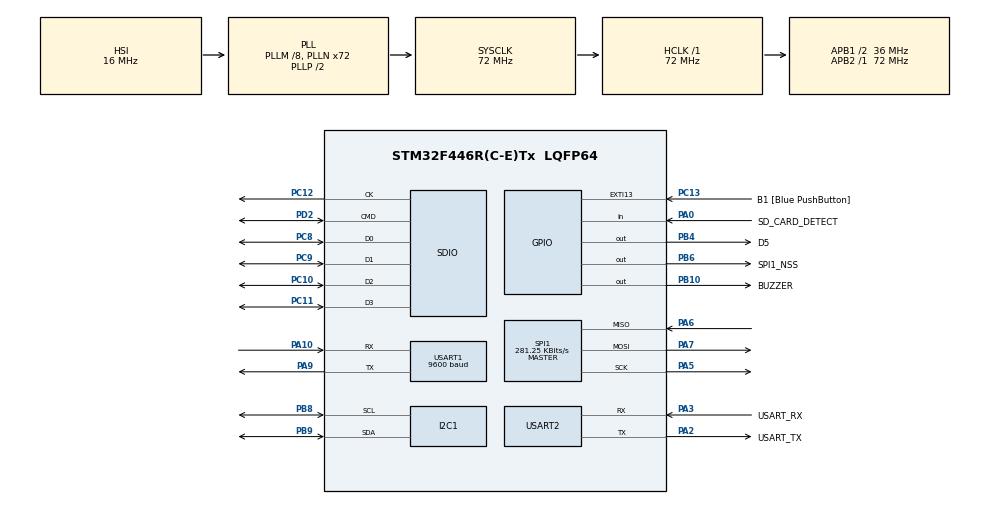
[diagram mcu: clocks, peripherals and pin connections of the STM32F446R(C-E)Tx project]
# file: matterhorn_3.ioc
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Dma.I2C1_RX.1.Direction=DMA_PERIPH_TO_MEMORY
Dma.I2C1_RX.1.FIFOMode=DMA_FIFOMODE_DISABLE
Dma.I2C1_RX.1.Instance=DMA1_Stream0
Dma.I2C1_RX.1.MemDataAlignment=DMA_MDATAALIGN_BYTE
Dma.I2C1_RX.1.MemInc=DMA_MINC_ENABLE
Dma.I2C1_RX.1.Mode=DMA_NORMAL
Dma.I2C1_RX.1.PeriphDataAlignment=DMA_PDATAALIGN_BYTE
Dma.I2C1_RX.1.PeriphInc=DMA_PINC_DISABLE
Dma.I2C1_RX.1.Priority=DMA_PRIORITY_LOW
Dma.Request0=USART2_TX
Dma.Request1=I2C1_RX
Dma.Request2=SDIO_TX
Dma.Request3=SDIO_RX
Dma.Request4=USART1_TX
Dma.SDIO_RX.3.Direction=DMA_PERIPH_TO_MEMORY
Dma.SDIO_RX.3.FIFOMode=DMA_FIFOMODE_ENABLE
Dma.SDIO_RX.3.FIFOThreshold=DMA_FIFO_THRESHOLD_FULL
Dma.SDIO_RX.3.Instance=DMA2_Stream6
Dma.SDIO_RX.3.MemBurst=DMA_MBURST_INC4
Dma.SDIO_RX.3.MemDataAlignment=DMA_MDATAALIGN_WORD
Dma.SDIO_RX.3.MemInc=DMA_MINC_ENABLE
Dma.SDIO_RX.3.Mode=DMA_PFCTRL
Dma.SDIO_RX.3.PeriphBurst=DMA_PBURST_INC4
Dma.SDIO_RX.3.PeriphDataAlignment=DMA_PDATAALIGN_WORD
Dma.SDIO_RX.3.PeriphInc=DMA_PINC_DISABLE
Dma.SDIO_RX.3.Priority=DMA_PRIORITY_LOW
Dma.SDIO_TX.2.Direction=DMA_MEMORY_TO_PERIPH
Dma.SDIO_TX.2.FIFOMode=DMA_FIFOMODE_ENABLE
Dma.SDIO_TX.2.FIFOThreshold=DMA_FIFO_THRESHOLD_FULL
Dma.SDIO_TX.2.Instance=DMA2_Stream3
Dma.SDIO_TX.2.MemBurst=DMA_MBURST_INC4
Dma.SDIO_TX.2.MemDataAlignment=DMA_MDATAALIGN_WORD
Dma.SDIO_TX.2.MemInc=DMA_MINC_ENABLE
Dma.SDIO_TX.2.Mode=DMA_PFCTRL
Dma.SDIO_TX.2.PeriphBurst=DMA_PBURST_INC4
Dma.SDIO_TX.2.PeriphDataAlignment=DMA_PDATAALIGN_WORD
Dma.SDIO_TX.2.PeriphInc=DMA_PINC_DISABLE
Dma.SDIO_TX.2.Priority=DMA_PRIORITY_LOW
Dma.USART1_TX.4.Direction=DMA_MEMORY_TO_PERIPH
Dma.USART1_TX.4.FIFOMode=DMA_FIFOMODE_DISABLE
Dma.USART1_TX.4.Instance=DMA2_Stream7
Dma.USART1_TX.4.MemDataAlignment=DMA_MDATAALIGN_BYTE
Dma.USART1_TX.4.MemInc=DMA_MINC_ENABLE
Dma.USART1_TX.4.Mode=DMA_NORMAL
Dma.USART1_TX.4.PeriphDataAlignment=DMA_PDATAALIGN_BYTE
Dma.USART1_TX.4.PeriphInc=DMA_PINC_DISABLE
Dma.USART1_TX.4.Priority=DMA_PRIORITY_LOW
Dma.USART2_TX.0.Direction=DMA_MEMORY_TO_PERIPH
Dma.USART2_TX.0.FIFOMode=DMA_FIFOMODE_DISABLE
Dma.USART2_TX.0.Instance=DMA1_Stream6
Dma.USART2_TX.0.MemDataAlignment=DMA_MDATAALIGN_BYTE
Dma.USART2_TX.0.MemInc=DMA_MINC_ENABLE
Dma.USART2_TX.0.Mode=DMA_NORMAL
Dma.USART2_TX.0.PeriphDataAlignment=DMA_PDATAALIGN_BYTE
Dma.USART2_TX.0.PeriphInc=DMA_PINC_DISABLE
Dma.USART2_TX.0.Priority=DMA_PRIORITY_LOW
FATFS._FS_LOCK=2
FATFS._USE_LFN=0
FATFS._USE_STRFUNC=0
FREERTOS.BinarySemaphores01=i2cSensorsSem,Dynamic,NULL
FREERTOS.Queues01=sdLoggingQueue,16,String_Message,0,Dynamic,NULL,NULL
FREERTOS.Tasks01=defaultTask,-3,1024,StartDefaultTask,As weak,NULL,Dynamic,NULL,NULL;fetch_i2c_senso,-1,1024,TK_fetch_i2c,As external,NULL,Dynamic,NULL,NULL;data_mgmt,0,1024,TK_data,As external,NULL,Dynamic,NULL,NULL;airbrakes_ctrl,1,1024,TK_ab_controller,As external,NULL,Dynamic,NULL,NULL;state_machine,2,1024,TK_state_machine,As external,NULL,Dynamic,NULL,NULL;physical_iface,2,256,TK_physical_iface,As external,NULL,Dynamic,NULL,NULL;sdWrite,-1,1024,TK_sd_sync,As external,NULL,Dynamic,NULL,NULL
FREERTOS.configCHECK_FOR_STACK_OVERFLOW=2
FREERTOS.configGENERATE_RUN_TIME_STATS=1
FREERTOS.configTOTAL_HEAP_SIZE=61440
FREERTOS.configUSE_TRACE_FACILITY=1
I2C1.I2C_Mode=I2C_Standard
Mcu.Family=STM32F4
Mcu.Name=STM32F446R(C-E)Tx
Mcu.Package=LQFP64
NVIC.DMA1_Stream0_IRQn=true\:5\:0\:false\:false\:true\:true\:false
NVIC.DMA1_Stream6_IRQn=true\:5\:0\:false\:false\:true\:true\:false
NVIC.DMA2_Stream3_IRQn=true\:5\:0\:false\:false\:true\:true\:false
NVIC.DMA2_Stream6_IRQn=true\:5\:0\:false\:false\:true\:true\:false
NVIC.DMA2_Stream7_IRQn=true\:5\:0\:false\:false\:true\:true\:false
NVIC.I2C1_ER_IRQn=true\:5\:0\:false\:false\:true\:true\:true
NVIC.I2C1_EV_IRQn=true\:5\:0\:false\:false\:true\:true\:true
NVIC.PriorityGroup=NVIC_PRIORITYGROUP_4
NVIC.SDIO_IRQn=true\:5\:0\:false\:false\:true\:true\:true
NVIC.TIM8_TRG_COM_TIM14_IRQn=true\:0\:0\:false\:false\:true\:false\:false
NVIC.TimeBase=TIM8_TRG_COM_TIM14_IRQn
NVIC.TimeBaseIP=TIM14
NVIC.USART1_IRQn=true\:5\:0\:false\:false\:true\:true\:true
NVIC.USART2_IRQn=true\:5\:0\:false\:false\:true\:true\:true
PA0-WKUP.GPIO_Label=SD_CARD_DETECT
PA0-WKUP.Signal=GPIO_Input
PA10.Mode=Asynchronous
PA10.Signal=USART1_RX
PA13.GPIO_Label=TMS
PA13.Mode=Trace_Asynchronous_SW
PA13.Signal=SYS_JTMS-SWDIO
PA14.GPIO_Label=TCK
PA14.Mode=Trace_Asynchronous_SW
PA14.Signal=SYS_JTCK-SWCLK
PA2.GPIO_Label=USART_TX
PA2.Mode=Asynchronous
PA2.Signal=USART2_TX
PA3.GPIO_Label=USART_RX
PA3.Mode=Asynchronous
PA3.Signal=USART2_RX
PA5.Mode=Full_Duplex_Master
PA5.Signal=SPI1_SCK
PA6.Mode=Full_Duplex_Master
PA6.Signal=SPI1_MISO
PA7.Mode=Full_Duplex_Master
PA7.Signal=SPI1_MOSI
PA9.Mode=Asynchronous
PA9.Signal=USART1_TX
PB10.GPIO_Label=BUZZER
PB10.Signal=GPIO_Output
PB3.GPIO_Label=SWO
PB3.Mode=Trace_Asynchronous_SW
PB3.Signal=SYS_JTDO-SWO
PB4.GPIO_Label=D5
PB4.Signal=GPIO_Output
PB6.GPIO_Label=SPI1_NSS
PB6.Signal=GPIO_Output
PB8.Mode=I2C
PB8.Signal=I2C1_SCL
PB9.Mode=I2C
PB9.Signal=I2C1_SDA
PC10.Mode=SD_4_bits_Wide_bus
PC10.Signal=SDIO_D2
PC11.Mode=SD_4_bits_Wide_bus
PC11.Signal=SDIO_D3
PC12.Mode=SD_4_bits_Wide_bus
PC12.Signal=SDIO_CK
PC13.GPIO_Label=B1 [Blue PushButton]
PC13.GPIO_ModeDefaultEXTI=GPIO_MODE_IT_FALLING
PC13.Signal=GPXTI13
PC14-OSC32_IN.Mode=LSE-External-Oscillator
PC14-OSC32_IN.Signal=RCC_OSC32_IN
PC15-OSC32_OUT.Mode=LSE-External-Oscillator
PC15-OSC32_OUT.Signal=RCC_OSC32_OUT
PC8.Mode=SD_4_bits_Wide_bus
PC8.Signal=SDIO_D0
PC9.Mode=SD_4_bits_Wide_bus
PC9.Signal=SDIO_D1
PD2.Mode=SD_4_bits_Wide_bus
PD2.Signal=SDIO_CMD
PH0-OSC_IN.Mode=HSE-External-Oscillator
PH0-OSC_IN.Signal=RCC_OSC_IN
PH1-OSC_OUT.Mode=HSE-External-Oscillator
PH1-OSC_OUT.Signal=RCC_OSC_OUT
ProjectManager.HeapSize=0x200
ProjectManager.StackSize=0x400
ProjectManager.TargetToolchain=TrueSTUDIO
RCC.48MHZClocksFreq_Value=84000000
RCC.AHBFreq_Value=72000000
RCC.APB1CLKDivider=RCC_HCLK_DIV2
RCC.APB1Freq_Value=36000000
RCC.APB1TimFreq_Value=72000000
RCC.APB2Freq_Value=72000000
RCC.APB2TimFreq_Value=72000000
RCC.CortexFreq_Value=72000000
RCC.FLatency-AdvancedSettings=FLASH_LATENCY_2
RCC.HCLKFreq_Value=72000000
RCC.HSE_VALUE=8000000
RCC.HSI_VALUE=16000000
RCC.PLLM=8
RCC.PLLN=72
RCC.PLLQ=3
RCC.SYSCLKFreq_VALUE=72000000
RCC.SYSCLKSource=RCC_SYSCLKSOURCE_PLLCLK
RCC.USBFreq_Value=48000000
RCC.VCOOutputFreq_Value=144000000
SPI1.BaudRatePrescaler=SPI_BAUDRATEPRESCALER_256
SPI1.CalculateBaudRate=281.25 KBits/s
SPI1.Direction=SPI_DIRECTION_2LINES
SPI1.Mode=SPI_MODE_MASTER
SPI1.VirtualType=VM_MASTER
USART1.BaudRate=9600
USART1.VirtualMode=VM_ASYNC
USART2.VirtualMode=VM_ASYNC
VP_FATFS_VS_SDIO.Mode=SDIO
VP_FREERTOS_VS_ENABLE.Mode=Enabled
VP_SYS_VS_tim14.Mode=TIM14
board=NUCLEO-F446RE

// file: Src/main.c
/**
  ******************************************************************************
  * @file           : main.c
  * @brief          : Main program body
  ******************************************************************************
  * This notice applies to any and all portions of this file
  * that are not between comment pairs USER CODE BEGIN and
  * USER CODE END. Other portions of this file, whether
  * inserted by the user or by software development tools
  * are owned by their respective copyright owners.
  *
  * Copyright (c) 2018 STMicroelectronics International N.V.
  * All rights reserved.
  *
  * Redistribution and use in source and binary forms, with or without
  * modification, are permitted, provided that the following conditions are met:
  *
  * 1. Redistribution of source code must retain the above copyright notice,
  *    this list of conditions and the following disclaimer.
  * 2. Redistributions in binary form must reproduce the above copyright notice,
  *    this list of conditions and the following disclaimer in the documentation
  *    and/or other materials provided with the distribution.
  * 3. Neither the name of STMicroelectronics nor the names of other
  *    contributors to this software may be used to endorse or promote products
  *    derived from this software without specific written permission.
  * 4. This software, including modifications and/or derivative works of this
  *    software, must execute solely and exclusively on microcontroller or
  *    microprocessor devices manufactured by or for STMicroelectronics.
  * 5. Redistribution and use of this software other than as permitted under
  *    this license is void and will automatically terminate your rights under
  *    this license.
  *
  * THIS SOFTWARE IS PROVIDED BY STMICROELECTRONICS AND CONTRIBUTORS "AS IS"
  * AND ANY EXPRESS, IMPLIED OR STATUTORY WARRANTIES, INCLUDING, BUT NOT
  * LIMITED TO, THE IMPLIED WARRANTIES OF MERCHANTABILITY, FITNESS FOR A
  * PARTICULAR PURPOSE AND NON-INFRINGEMENT OF THIRD PARTY INTELLECTUAL PROPERTY
  * RIGHTS ARE DISCLAIMED TO THE FULLEST EXTENT PERMITTED BY LAW. IN NO EVENT
  * SHALL STMICROELECTRONICS OR CONTRIBUTORS BE LIABLE FOR ANY DIRECT, INDIRECT,
  * INCIDENTAL, SPECIAL, EXEMPLARY, OR CONSEQUENTIAL DAMAGES (INCLUDING, BUT NOT
  * LIMITED TO, PROCUREMENT OF SUBSTITUTE GOODS OR SERVICES; LOSS OF USE, DATA,
  * OR PROFITS; OR BUSINESS INTERRUPTION) HOWEVER CAUSED AND ON ANY THEORY OF
  * LIABILITY, WHETHER IN CONTRACT, STRICT LIABILITY, OR TORT (INCLUDING
  * NEGLIGENCE OR OTHERWISE) ARISING IN ANY WAY OUT OF THE USE OF THIS SOFTWARE,
  * EVEN IF ADVISED OF THE POSSIBILITY OF SUCH DAMAGE.
  *
  ******************************************************************************
  */
#include "main.h"
#include "stm32f4xx_hal.h"
#include "cmsis_os.h"
#include "fatfs.h"

/* USER CODE BEGIN Includes */

#include "Misc/Common.h"

#include <Sensors/i2c_sensors.h>

/* USER CODE END Includes */

I2C_HandleTypeDef hi2c1;
DMA_HandleTypeDef hdma_i2c1_rx;

SD_HandleTypeDef hsd;
DMA_HandleTypeDef hdma_sdio_tx;
DMA_HandleTypeDef hdma_sdio_rx;

SPI_HandleTypeDef hspi1;

UART_HandleTypeDef huart1;
UART_HandleTypeDef huart2;
DMA_HandleTypeDef hdma_usart1_tx;
DMA_HandleTypeDef hdma_usart2_tx;

osThreadId defaultTaskHandle;
osThreadId fetch_i2c_sensoHandle;
osThreadId data_mgmtHandle;
osThreadId airbrakes_ctrlHandle;
osThreadId state_machineHandle;
osThreadId physical_ifaceHandle;
osThreadId sdWriteHandle;
osMessageQId sdLoggingQueueHandle;
osSemaphoreId i2cSensorsSemHandle;

/* USER CODE BEGIN PV */
/* Private variables ---------------------------------------------------------*/

IMU_data IMU_buffer[CIRC_BUFFER_SIZE] CCMRAM;
BARO_data BARO_buffer[CIRC_BUFFER_SIZE] CCMRAM;

int startSimulation;

UART_HandleTypeDef* airbrake_huart;

/* USER CODE END PV */

void SystemClock_Config(void);
static void MX_GPIO_Init(void);
static void MX_DMA_Init(void);
static void MX_USART2_UART_Init(void);
static void MX_I2C1_Init(void);
static void MX_SDIO_SD_Init(void);
static void MX_SPI1_Init(void);
static void MX_USART1_UART_Init(void);
void StartDefaultTask(void const * argument);
extern void TK_fetch_i2c(void const * argument);
extern void TK_data(void const * argument);
extern void TK_ab_controller(void const * argument);
extern void TK_state_machine(void const * argument);
extern void TK_physical_iface(void const * argument);
extern void TK_sd_sync(void const * argument);

/* USER CODE BEGIN PFP */
/* Private function prototypes -----------------------------------------------*/

/* USER CODE END PFP */

int main(void)
{
  /* USER CODE BEGIN 1 */
  initPeripherals ();

  /* USER CODE END 1 */

  /* MCU Configuration----------------------------------------------------------*/

  /* Reset of all peripherals, Initializes the Flash interface and the Systick. */
  HAL_Init();

  /* Configure the system clock */
  SystemClock_Config();

  /* Initialize all configured peripherals */
  MX_GPIO_Init();
  MX_DMA_Init();
  MX_USART2_UART_Init();
  MX_I2C1_Init();
  MX_SDIO_SD_Init();
  MX_SPI1_Init();
  MX_USART1_UART_Init();

  /* Create the semaphores(s) */
  /* definition and creation of i2cSensorsSem */
  osSemaphoreDef(i2cSensorsSem);
  i2cSensorsSemHandle = osSemaphoreCreate(osSemaphore(i2cSensorsSem), 1);

  /* Create the thread(s) */
  /* definition and creation of defaultTask */
  osThreadDef(defaultTask, StartDefaultTask, osPriorityIdle, 0, 1024);
  defaultTaskHandle = osThreadCreate(osThread(defaultTask), NULL);

  /* definition and creation of fetch_i2c_senso */
  osThreadDef(fetch_i2c_senso, TK_fetch_i2c, osPriorityBelowNormal, 0, 1024);
  fetch_i2c_sensoHandle = osThreadCreate(osThread(fetch_i2c_senso), NULL);

  /* definition and creation of data_mgmt */
  osThreadDef(data_mgmt, TK_data, osPriorityNormal, 0, 1024);
  data_mgmtHandle = osThreadCreate(osThread(data_mgmt), NULL);

  /* definition and creation of airbrakes_ctrl */
  osThreadDef(airbrakes_ctrl, TK_ab_controller, osPriorityAboveNormal, 0, 1024);
  airbrakes_ctrlHandle = osThreadCreate(osThread(airbrakes_ctrl), NULL);

  /* definition and creation of state_machine */
  osThreadDef(state_machine, TK_state_machine, osPriorityHigh, 0, 1024);
  state_machineHandle = osThreadCreate(osThread(state_machine), NULL);

  /* definition and creation of physical_iface */
  osThreadDef(physical_iface, TK_physical_iface, osPriorityHigh, 0, 256);
  physical_ifaceHandle = osThreadCreate(osThread(physical_iface), NULL);

  /* definition and creation of sdWrite */
  osThreadDef(sdWrite, TK_sd_sync, osPriorityBelowNormal, 0, 1024);
  sdWriteHandle = osThreadCreate(osThread(sdWrite), NULL);

  /* Create the queue(s) */
  /* definition and creation of sdLoggingQueue */
/* what about the sizeof here??? cd native code */
  osMessageQDef(sdLoggingQueue, 16, String_Message);
  sdLoggingQueueHandle = osMessageCreate(osMessageQ(sdLoggingQueue), NULL);

  /* Start scheduler */
  osKernelStart();

  /* We should never get here as control is now taken by the scheduler */

  /* Infinite loop */
  while (1)
    {

    }

}

void SystemClock_Config(void)
{

  RCC_OscInitTypeDef RCC_OscInitStruct;
  RCC_ClkInitTypeDef RCC_ClkInitStruct;
  RCC_PeriphCLKInitTypeDef PeriphClkInitStruct;

    /**Configure the main internal regulator output voltage
    */
  __HAL_RCC_PWR_CLK_ENABLE();

  __HAL_PWR_VOLTAGESCALING_CONFIG(PWR_REGULATOR_VOLTAGE_SCALE3);

    /**Initializes the CPU, AHB and APB busses clocks
    */
  RCC_OscInitStruct.OscillatorType = RCC_OSCILLATORTYPE_HSI;
  RCC_OscInitStruct.HSIState = RCC_HSI_ON;
  RCC_OscInitStruct.HSICalibrationValue = 16;
  RCC_OscInitStruct.PLL.PLLState = RCC_PLL_ON;
  RCC_OscInitStruct.PLL.PLLSource = RCC_PLLSOURCE_HSI;
  RCC_OscInitStruct.PLL.PLLM = 8;
  RCC_OscInitStruct.PLL.PLLN = 72;
  RCC_OscInitStruct.PLL.PLLP = RCC_PLLP_DIV2;
  RCC_OscInitStruct.PLL.PLLQ = 3;
  RCC_OscInitStruct.PLL.PLLR = 2;
  if (HAL_RCC_OscConfig(&RCC_OscInitStruct) != HAL_OK)
  {
    _Error_Handler(__FILE__, __LINE__);
  }

    /**Initializes the CPU, AHB and APB busses clocks
    */
  RCC_ClkInitStruct.ClockType = RCC_CLOCKTYPE_HCLK|RCC_CLOCKTYPE_SYSCLK
                              |RCC_CLOCKTYPE_PCLK1|RCC_CLOCKTYPE_PCLK2;
  RCC_ClkInitStruct.SYSCLKSource = RCC_SYSCLKSOURCE_PLLCLK;
  RCC_ClkInitStruct.AHBCLKDivider = RCC_SYSCLK_DIV1;
  RCC_ClkInitStruct.APB1CLKDivider = RCC_HCLK_DIV2;
  RCC_ClkInitStruct.APB2CLKDivider = RCC_HCLK_DIV1;

  if (HAL_RCC_ClockConfig(&RCC_ClkInitStruct, FLASH_LATENCY_2) != HAL_OK)
  {
    _Error_Handler(__FILE__, __LINE__);
  }

  PeriphClkInitStruct.PeriphClockSelection = RCC_PERIPHCLK_SDIO|RCC_PERIPHCLK_CLK48;
  PeriphClkInitStruct.Clk48ClockSelection = RCC_CLK48CLKSOURCE_PLLQ;
  PeriphClkInitStruct.SdioClockSelection = RCC_SDIOCLKSOURCE_CLK48;
  if (HAL_RCCEx_PeriphCLKConfig(&PeriphClkInitStruct) != HAL_OK)
  {
    _Error_Handler(__FILE__, __LINE__);
  }

    /**Configure the Systick interrupt time
    */
  HAL_SYSTICK_Config(HAL_RCC_GetHCLKFreq()/1000);

    /**Configure the Systick
    */
  HAL_SYSTICK_CLKSourceConfig(SYSTICK_CLKSOURCE_HCLK);

  /* SysTick_IRQn interrupt configuration */
  HAL_NVIC_SetPriority(SysTick_IRQn, 15, 0);
}

/* I2C1 init function */
static void MX_I2C1_Init(void)
{

  hi2c1.Instance = I2C1;
  hi2c1.Init.ClockSpeed = 100000;
  hi2c1.Init.DutyCycle = I2C_DUTYCYCLE_2;
  hi2c1.Init.OwnAddress1 = 0;
  hi2c1.Init.AddressingMode = I2C_ADDRESSINGMODE_7BIT;
  hi2c1.Init.DualAddressMode = I2C_DUALADDRESS_DISABLE;
  hi2c1.Init.OwnAddress2 = 0;
  hi2c1.Init.GeneralCallMode = I2C_GENERALCALL_DISABLE;
  hi2c1.Init.NoStretchMode = I2C_NOSTRETCH_DISABLE;
  if (HAL_I2C_Init(&hi2c1) != HAL_OK)
  {
    _Error_Handler(__FILE__, __LINE__);
  }

}

/* SDIO init function */
static void MX_SDIO_SD_Init(void)
{

  hsd.Instance = SDIO;
  hsd.Init.ClockEdge = SDIO_CLOCK_EDGE_RISING;
  hsd.Init.ClockBypass = SDIO_CLOCK_BYPASS_DISABLE;
  hsd.Init.ClockPowerSave = SDIO_CLOCK_POWER_SAVE_DISABLE;
  hsd.Init.BusWide = SDIO_BUS_WIDE_1B;
  hsd.Init.HardwareFlowControl = SDIO_HARDWARE_FLOW_CONTROL_DISABLE;
  hsd.Init.ClockDiv = 0;

}

/* SPI1 init function */
static void MX_SPI1_Init(void)
{

  /* SPI1 parameter configuration*/
  hspi1.Instance = SPI1;
  hspi1.Init.Mode = SPI_MODE_MASTER;
  hspi1.Init.Direction = SPI_DIRECTION_2LINES;
  hspi1.Init.DataSize = SPI_DATASIZE_8BIT;
  hspi1.Init.CLKPolarity = SPI_POLARITY_LOW;
  hspi1.Init.CLKPhase = SPI_PHASE_1EDGE;
  hspi1.Init.NSS = SPI_NSS_SOFT;
  hspi1.Init.BaudRatePrescaler = SPI_BAUDRATEPRESCALER_256;
  hspi1.Init.FirstBit = SPI_FIRSTBIT_MSB;
  hspi1.Init.TIMode = SPI_TIMODE_DISABLE;
  hspi1.Init.CRCCalculation = SPI_CRCCALCULATION_DISABLE;
  hspi1.Init.CRCPolynomial = 10;
  if (HAL_SPI_Init(&hspi1) != HAL_OK)
  {
    _Error_Handler(__FILE__, __LINE__);
  }

}

/* USART1 init function */
static void MX_USART1_UART_Init(void)
{

  huart1.Instance = USART1;
  huart1.Init.BaudRate = 9600;
  huart1.Init.WordLength = UART_WORDLENGTH_8B;
  huart1.Init.StopBits = UART_STOPBITS_1;
  huart1.Init.Parity = UART_PARITY_NONE;
  huart1.Init.Mode = UART_MODE_TX_RX;
  huart1.Init.HwFlowCtl = UART_HWCONTROL_NONE;
  huart1.Init.OverSampling = UART_OVERSAMPLING_16;
  if (HAL_UART_Init(&huart1) != HAL_OK)
  {
    _Error_Handler(__FILE__, __LINE__);
  }

}

/* USART2 init function */
static void MX_USART2_UART_Init(void)
{

  huart2.Instance = USART2;
  huart2.Init.BaudRate = 115200;
  huart2.Init.WordLength = UART_WORDLENGTH_8B;
  huart2.Init.StopBits = UART_STOPBITS_1;
  huart2.Init.Parity = UART_PARITY_NONE;
  huart2.Init.Mode = UART_MODE_TX_RX;
  huart2.Init.HwFlowCtl = UART_HWCONTROL_NONE;
  huart2.Init.OverSampling = UART_OVERSAMPLING_16;
  if (HAL_UART_Init(&huart2) != HAL_OK)
  {
    _Error_Handler(__FILE__, __LINE__);
  }

}

static void MX_DMA_Init(void)
{
  /* DMA controller clock enable */
  __HAL_RCC_DMA1_CLK_ENABLE();
  __HAL_RCC_DMA2_CLK_ENABLE();

  /* DMA interrupt init */
  /* DMA1_Stream0_IRQn interrupt configuration */
  HAL_NVIC_SetPriority(DMA1_Stream0_IRQn, 5, 0);
  HAL_NVIC_EnableIRQ(DMA1_Stream0_IRQn);
  /* DMA1_Stream6_IRQn interrupt configuration */
  HAL_NVIC_SetPriority(DMA1_Stream6_IRQn, 5, 0);
  HAL_NVIC_EnableIRQ(DMA1_Stream6_IRQn);
  /* DMA2_Stream3_IRQn interrupt configuration */
  HAL_NVIC_SetPriority(DMA2_Stream3_IRQn, 5, 0);
  HAL_NVIC_EnableIRQ(DMA2_Stream3_IRQn);
  /* DMA2_Stream6_IRQn interrupt configuration */
  HAL_NVIC_SetPriority(DMA2_Stream6_IRQn, 5, 0);
  HAL_NVIC_EnableIRQ(DMA2_Stream6_IRQn);
  /* DMA2_Stream7_IRQn interrupt configuration */
  HAL_NVIC_SetPriority(DMA2_Stream7_IRQn, 5, 0);
  HAL_NVIC_EnableIRQ(DMA2_Stream7_IRQn);

}

/** Configure pins as
        * Analog
        * Input
        * Output
        * EVENT_OUT
        * EXTI
*/
static void MX_GPIO_Init(void)
{

  GPIO_InitTypeDef GPIO_InitStruct;

  /* GPIO Ports Clock Enable */
  __HAL_RCC_GPIOC_CLK_ENABLE();
  __HAL_RCC_GPIOH_CLK_ENABLE();
  __HAL_RCC_GPIOA_CLK_ENABLE();
  __HAL_RCC_GPIOB_CLK_ENABLE();
  __HAL_RCC_GPIOD_CLK_ENABLE();

  /*Configure GPIO pin Output Level */
  HAL_GPIO_WritePin(GPIOB, BUZZER_Pin|D5_Pin|SPI1_NSS_Pin, GPIO_PIN_RESET);

  /*Configure GPIO pin : B1_Pin */
  GPIO_InitStruct.Pin = B1_Pin;
  GPIO_InitStruct.Mode = GPIO_MODE_IT_FALLING;
  GPIO_InitStruct.Pull = GPIO_NOPULL;
  HAL_GPIO_Init(B1_GPIO_Port, &GPIO_InitStruct);

  /*Configure GPIO pin : SD_CARD_DETECT_Pin */
  GPIO_InitStruct.Pin = SD_CARD_DETECT_Pin;
  GPIO_InitStruct.Mode = GPIO_MODE_INPUT;
  GPIO_InitStruct.Pull = GPIO_NOPULL;
  HAL_GPIO_Init(SD_CARD_DETECT_GPIO_Port, &GPIO_InitStruct);

  /*Configure GPIO pins : BUZZER_Pin D5_Pin SPI1_NSS_Pin */
  GPIO_InitStruct.Pin = BUZZER_Pin|D5_Pin|SPI1_NSS_Pin;
  GPIO_InitStruct.Mode = GPIO_MODE_OUTPUT_PP;
  GPIO_InitStruct.Pull = GPIO_NOPULL;
  GPIO_InitStruct.Speed = GPIO_SPEED_FREQ_LOW;
  HAL_GPIO_Init(GPIOB, &GPIO_InitStruct);

}

/* USER CODE BEGIN 4 */

void initPeripherals ()
{
  airbrake_huart = &huart1;
}

/* USER CODE END 4 */

/* StartDefaultTask function */
__weak void StartDefaultTask(void const * argument)
{
  /* init code for FATFS */
  MX_FATFS_Init();

  /* USER CODE BEGIN 5 */

  for (;;)
    {
      osDelay (10000000);
    }
  /* USER CODE END 5 */
}

void HAL_TIM_PeriodElapsedCallback(TIM_HandleTypeDef *htim)
{
  if (htim->Instance == TIM14) {
    HAL_IncTick();
  }
}

void _Error_Handler(char *file, int line)
{
  while (1)
    {
    }
}

/************************ (C) COPYRIGHT STMicroelectronics *****END OF FILE****/

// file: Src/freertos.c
/**
  ******************************************************************************
  * File Name          : freertos.c
  * Description        : Code for freertos applications
  ******************************************************************************
  * This notice applies to any and all portions of this file
  * that are not between comment pairs USER CODE BEGIN and
  * USER CODE END. Other portions of this file, whether
  * inserted by the user or by software development tools
  * are owned by their respective copyright owners.
  *
  * Copyright (c) 2018 STMicroelectronics International N.V.
  * All rights reserved.
  *
  * Redistribution and use in source and binary forms, with or without
  * modification, are permitted, provided that the following conditions are met:
  *
  * 1. Redistribution of source code must retain the above copyright notice,
  *    this list of conditions and the following disclaimer.
  * 2. Redistributions in binary form must reproduce the above copyright notice,
  *    this list of conditions and the following disclaimer in the documentation
  *    and/or other materials provided with the distribution.
  * 3. Neither the name of STMicroelectronics nor the names of other
  *    contributors to this software may be used to endorse or promote products
  *    derived from this software without specific written permission.
  * 4. This software, including modifications and/or derivative works of this
  *    software, must execute solely and exclusively on microcontroller or
  *    microprocessor devices manufactured by or for STMicroelectronics.
  * 5. Redistribution and use of this software other than as permitted under
  *    this license is void and will automatically terminate your rights under
  *    this license.
  *
  * THIS SOFTWARE IS PROVIDED BY STMICROELECTRONICS AND CONTRIBUTORS "AS IS"
  * AND ANY EXPRESS, IMPLIED OR STATUTORY WARRANTIES, INCLUDING, BUT NOT
  * LIMITED TO, THE IMPLIED WARRANTIES OF MERCHANTABILITY, FITNESS FOR A
  * PARTICULAR PURPOSE AND NON-INFRINGEMENT OF THIRD PARTY INTELLECTUAL PROPERTY
  * RIGHTS ARE DISCLAIMED TO THE FULLEST EXTENT PERMITTED BY LAW. IN NO EVENT
  * SHALL STMICROELECTRONICS OR CONTRIBUTORS BE LIABLE FOR ANY DIRECT, INDIRECT,
  * INCIDENTAL, SPECIAL, EXEMPLARY, OR CONSEQUENTIAL DAMAGES (INCLUDING, BUT NOT
  * LIMITED TO, PROCUREMENT OF SUBSTITUTE GOODS OR SERVICES; LOSS OF USE, DATA,
  * OR PROFITS; OR BUSINESS INTERRUPTION) HOWEVER CAUSED AND ON ANY THEORY OF
  * LIABILITY, WHETHER IN CONTRACT, STRICT LIABILITY, OR TORT (INCLUDING
  * NEGLIGENCE OR OTHERWISE) ARISING IN ANY WAY OUT OF THE USE OF THIS SOFTWARE,
  * EVEN IF ADVISED OF THE POSSIBILITY OF SUCH DAMAGE.
  *
  ******************************************************************************
  */

#include "FreeRTOS.h"
#include "task.h"

/* Hook prototypes */
void configureTimerForRunTimeStats(void);
unsigned long getRunTimeCounterValue(void);
void vApplicationStackOverflowHook(xTaskHandle xTask, signed char *pcTaskName);

/* USER CODE BEGIN 1 */

void StartDefaultTask (void const * arg)
{
//Prevents the default StartDefaultTask from being called.
  for (;;)
    {
      osDelay (portMAX_DELAY);
    }
}

/* Functions needed when configGENERATE_RUN_TIME_STATS is on */
__weak void configureTimerForRunTimeStats (void)
{

}

__weak unsigned long getRunTimeCounterValue (void)
{
  return 0;
}
/* USER CODE END 1 */

/* USER CODE BEGIN 4 */

void shortBip();

__weak void vApplicationStackOverflowHook(xTaskHandle xTask, signed char *pcTaskName)
{

  shortBip();

   /* Run time stack overflow checking is performed if
   configCHECK_FOR_STACK_OVERFLOW is defined to 1 or 2. This hook function is
   called if a stack overflow is detected. */
}
/* USER CODE END 4 */

/************************ (C) COPYRIGHT STMicroelectronics *****END OF FILE****/
